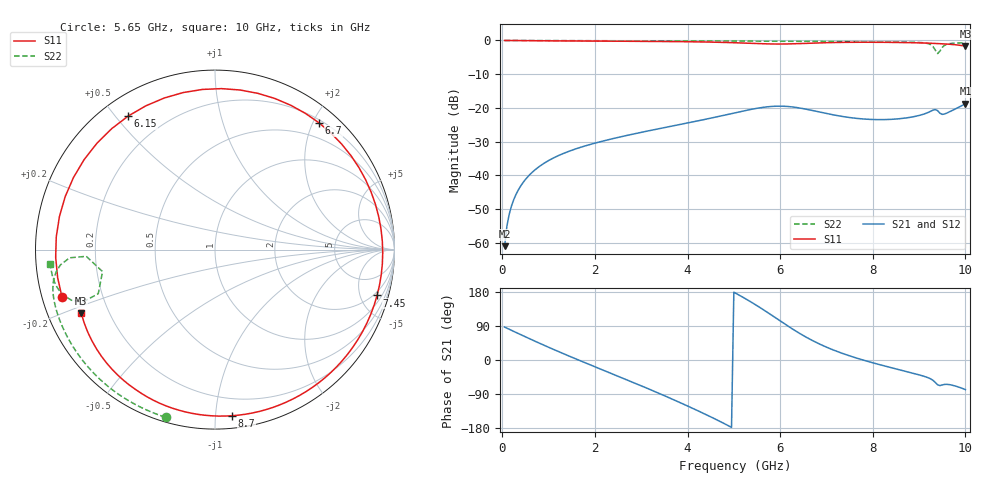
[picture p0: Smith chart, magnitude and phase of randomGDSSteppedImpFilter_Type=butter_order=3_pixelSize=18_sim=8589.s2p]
! freq	dB(S11)	phase(S11)	dB(S12)	phase(S12)
!  dB(S21)	phase(S21)	dB(S22)	phase(S22)
!S-par simulation data
#  GHz  S  DB  R 50
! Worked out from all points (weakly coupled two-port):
!   200 points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, 50 MHz to 10 GHz, reference 50 ohm
!   highest |S21| = -18.76 dB at 10 GHz (marker M1); lowest = -61.0 dB at 50 MHz (marker M2)
!   lowest |S11| = -1.7 dB at 10 GHz (marker M3), VSWR 10.45, Z = 5.03 - j11.2 ohm
!   |S11| at or under -10 dB: nowhere
!   |S22| runs from -3.9 to 0.0 dB; largest |S21 - S12| = 0
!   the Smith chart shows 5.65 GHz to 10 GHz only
!   S11 on the Smith chart (normalised r, x): 5.65 GHz: 0.06, -0.15; 6.15 GHz: 0.08, +0.54; 6.7 GHz: 0.24, +2.09; 7.45 GHz: 1.60, -6.85; 8.7 GHz: 0.08, -1.10; 10 GHz: 0.10, -0.22
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0.05  -0.00 -4.8  -60.95 86.9  -60.95 86.9  -0.00 -1.0
0.3  -0.04 -28.4  -45.51 72.4  -45.51 72.4  -0.01 -6.2
0.9  -0.11 -83.5  -36.40 39.0  -36.40 39.0  -0.02 -18.4
1.75  -0.17 -156.3  -31.40 -5.3  -31.40 -5.3  -0.05 -35.4
2.45  -0.22 146.2  -28.89 -40.2  -28.89 -40.2  -0.07 -49.1
2.95  -0.26 104.8  -27.37 -65.4  -27.37 -65.4  -0.08 -58.6
3.4  -0.30 66.8  -26.10 -88.8  -26.10 -88.8  -0.10 -67.0
3.85  -0.35 27.9  -24.86 -113.1  -24.86 -113.1  -0.12 -75.2
4.25  -0.42 -7.7  -23.75 -135.4  -23.75 -135.4  -0.14 -82.4
5.05  -0.69 -87.0  -21.36 175.6  -21.36 175.6  -0.19 -96.3
5.35  -0.84 -122.5  -20.48 154.6  -20.48 154.6  -0.21 -101.4
5.65  -0.99 -162.8  -19.78 131.7  -19.78 131.7  -0.23 -106.4
6.15  -1.04 123.0  -19.55 91.0  -19.55 91.0  -0.26 -114.6
6.4  -0.94 87.7  -19.96 71.7  -19.96 71.7  -0.27 -118.7
6.7  -0.79 50.7  -20.76 51.2  -20.76 51.2  -0.28 -123.6
7.45  -0.55 -15.8  -22.74 13.0  -22.74 13.0  -0.32 -136.1
8.35  -0.56 -67.5  -23.40 -18.7  -23.40 -18.7  -0.41 -151.5
8.7  -0.63 -84.2  -22.99 -29.6  -22.99 -29.6  -0.47 -158.2
9.2  -0.80 -107.5  -21.30 -47.0  -21.30 -47.0  -0.96 -171.9
9.4  -0.92 -117.3  -20.80 -65.4  -20.80 -65.4  -3.90 -168.9
9.5  -0.99 -122.4  -21.90 -65.8  -21.90 -65.8  -2.06 -158.4
10  -1.67 -154.6  -18.76 -78.1  -18.76 -78.1  -0.72 -175.0
